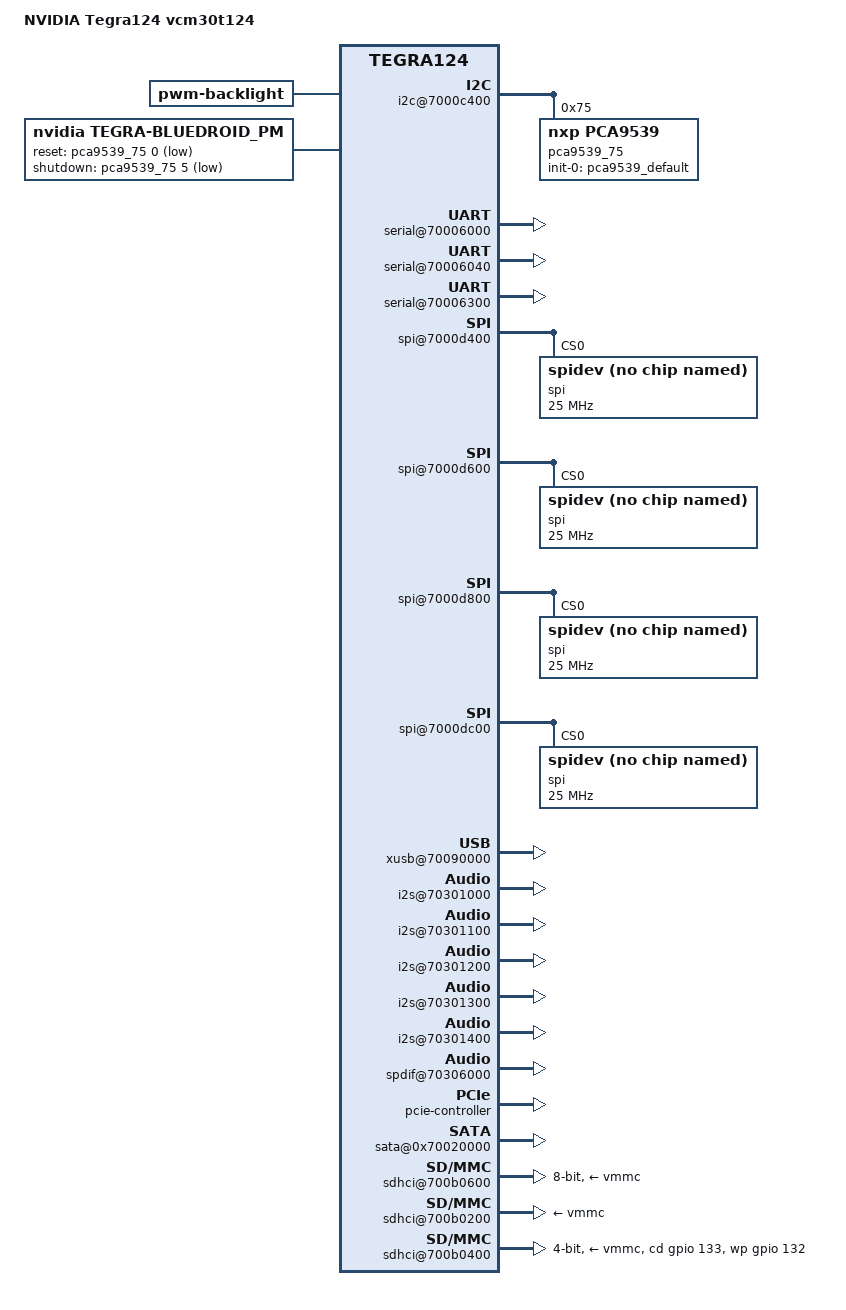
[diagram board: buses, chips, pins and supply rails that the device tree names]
/*
 * arch/arm/boot/dts/tegra124-vcm30_t124.dts
 *
 * Copyright (c) 2013-2014, NVIDIA CORPORATION.  All rights reserved.
 *
 * This program is free software; you can redistribute it and/or modify
 * it under the terms of the GNU General Public License as published by
 * the Free Software Foundation; version 2 of the License.
 *
 * This program is distributed in the hope that it will be useful, but WITHOUT
 * ANY WARRANTY; without even the implied warranty of MERCHANTABILITY or
 * FITNESS FOR A PARTICULAR PURPOSE.  See the GNU General Public License for
 * more details.
 *
 * You should have received a copy of the GNU General Public License along
 * with this program; if not, write to the Free Software Foundation, Inc.,
 * 51 Franklin Street, Fifth Floor, Boston, MA  02110-1301, USA.
 *
 */

 /dts-v1/;

#include "tegra124.dtsi"
#include <tegra124-platforms/tegra124-vcm30-t124-gpio-default.dtsi>
#include <tegra124-platforms/tegra124-vcm30-t124-pinmux.dtsi>
#include <tegra124-platforms/tegra124-vcm30t124-fixed.dtsi>
#include <panel-a-edp-1080p-14-0.dtsi>
#include <tegra124-platforms/tegra124-vcm30-t124-hdmi.dtsi>


/ {
	model = "NVIDIA Tegra124 vcm30t124";
	compatible = "nvidia,vcm30t124", "nvidia,tegra124";
	nvidia,dtsfilename = __FILE__;
	#address-cells = <2>;
	#size-cells = <2>;

	chosen {
		nvidia,tegra-hypervisor-mode;
	};

	host1x {
		sor {
			status = "okay";
			panel-a-edp-1080p-14-0 {
				disp-default-out {
					nvidia,out-max-pixclk = <3367>;
					nvidia,dither = <TEGRA_DC_ORDERED_DITHER>;
				};
			};
		};
		dpaux {
			status = "okay";
		};
		/* tegradc.0 */
		dc@54200000 {
			status = "okay";
			nvidia,dc-flags = <TEGRA_DC_FLAG_ENABLED>;
			nvidia,emc-clk-rate = <204000000>;
			nvidia,fb-bpp = <32>; /* bits per pixel */
			nvidia,cmu-enable = <1>;
		};
		/* tegradc.1 */
		dc@54240000 {
			status = "okay";
			nvidia,emc-clk-rate = <300000000>;
			nvidia,fb-bpp = <32>; /* bits per pixel */
		};
	};

	backlight {
		compatible = "pwm-backlight";
		status = "okay";
	};

	i2c@7000c400 {
		nvidia,clock-always-on;

		pca9539_75: pca9546@75 {
			compatible = "nxp,pca9539";
			gpio-controller;
			#gpio-cells = <2>;
			reg = <0x75>;
			gpio-init-names = "default";
			gpio-init-0 = <&pca9539_default>;
			pca9539_default: default {
				 gpio-output-high = <0 3 4 5 7 13 14 15>;
			 };
		};
	};

	serial@70006000 {
		compatible = "nvidia,tegra114-hsuart";
		status = "okay";
	};

	serial@70006040 {
		compatible = "nvidia,tegra114-hsuart";
		status = "okay";
	};

	serial@70006300 {
		compatible = "nvidia,tegra114-hsuart";
		status = "okay";
	};

	spi@7000d400 {
		status = "okay";
		spi@0 {
			compatible = "spidev";
			reg = <0>;
			spi-max-frequency = <25000000>;
			/* spi-cpha;
			 * spi-cpol;
			 * spi-cs-high;
			 */
		};
	};

	spi@7000d600 {
		status = "okay";
		spi@0 {
			compatible = "spidev";
			reg = <0>;
			spi-max-frequency = <25000000>;
		};
	};

	spi@7000d800 {
		status = "okay";
		spi@0 {
			compatible = "spidev";
			reg = <0>;
			spi-max-frequency = <25000000>;
		};
	};

	spi@7000dc00 {
		status = "okay";
		spi@0 {
			compatible = "spidev";
			reg = <0>;
			spi-max-frequency = <25000000>;
		};
	};

	xusb@70090000 {
		nvidia,gpio_ss1_sata = <0>;

		/*
		 * BIT0 - BIT7 : SS ports
		 * BIT8 - BIT15 : USB2 UTMI ports
		 * BIT16 - BIT23 : HSIC ports
		 * BIT24 - BIT31 : ULPI ports
		 * XXXX XXXP XXXX XXHH XXXX XUUU XXXX XXSS
		 */
		nvidia,portmap = <0x402>; /* SSP1, USB2P2 */
		/* XXXX .. XSSS XSSS */
		nvidia,ss_portmap = <0x20>; /* SSP1 on USB2P2 */

		/*
		 * BIT 2 (0/1): PCIE-0/SSP0
		 * BIT 1 (0/1): PCIE-1/SSP1
		 * BIT 0 (0/1): SATA/SSP1
		 */
		nvidia,lane_owner = <0x2>; /* PCIE-0, SSP1 and SATA */
		nvidia,ulpicap = <0>; /* No ulpi support */
		status = "okay";
	};

	ahub {
		status = "okay";

		i2s@70301000 {
			status = "okay";
		};
		i2s@70301100 {
			status = "okay";
		};
		i2s@70301200 {
			status = "okay";
		};
		i2s@70301300 {
			status = "okay";
		};
		i2s@70301400 {
			status = "okay";
		};
		spdif@70306000 {
			status = "okay";
		};
		amx@70303000 {
			status = "okay";
		};
		adx@70303800 {
			status = "okay";
		};
		amx@70303100 {
			status = "okay";
		};
		adx@70303900 {
			status = "okay";
		};
		dam@70302000 {
			status = "okay";
		};
		dam@70302200 {
			status = "okay";
		};
		dam@70302400 {
			status = "okay";
		};
		afc@70307000 {
			status = "okay";
		};
		afc@70307100 {
			status = "okay";
		};
		afc@70307200 {
			status = "okay";
		};
		afc@70307300 {
			status = "okay";
		};
		afc@70307400 {
			status = "okay";
		};
		afc@70307500 {
			status = "okay";
		};
	};

	pcie-controller {
		nvidia,port0_status = <1>;
		nvidia,port1_status = <1>;
		status = "okay";
	};

	sata@0x70020000 {
		status = "okay";
		nvidia,enable-sata-port;
	};

	sdhci@700b0600 {
		tap-delay = <0x4>;
		trim-delay = <0x4>;
		ddr-trim-delay = <0x4>;
		mmc-ocr-mask = <0>;
		uhs_mask = <0x40>;
		bus-width = <8>;
		built-in;
		ddr-clk-limit = <51000000>;
		max-clk-limit = <200000000>;
		vmmc-supply = <&vmmc>;
		pll_source = "pll_m", "pll_p";
		status = "okay";
	};

	sdhci@700b0200 {
		tap-delay = <0x1>;
		trim-delay = <0x3>;
		ddr-trim-delay = <0x3>;
		mmc-ocr-mask = <0>;
		uhs_mask = <0x20>;
		built-in;
		ddr-clk-limit = <30000000>;
		max-clk-limit = <51000000>;
		pll_source = "pll_m", "pll_p";
		vmmc-supply = <&vmmc>;
		status = "okay";
	};

	sdhci@700b0400 {
		cd-gpios = <&gpio 133 0>;
		wp-gpios = <&gpio 132 0>;
		tap-delay = <0>;
		trim-delay = <3>;
		mmc-ocr-mask = <3>;
		uhs_mask = <0x28>;
		bus-width = <4>;
		max-clk-limit = <204000000>;
		pll_source = "pll_m", "pll_p";
		vmmc-supply = <&vmmc>;
		status = "okay";
	};
	bluedroid_pm {
		compatible = "nvidia,tegra-bluedroid_pm";
		id = <0>;
		bluedroid_pm,reset-gpio = <&pca9539_75 0 1>;
		bluedroid_pm,shutdown-gpio = <&pca9539_75 5 1>;
		status = "okay";
	};
};
